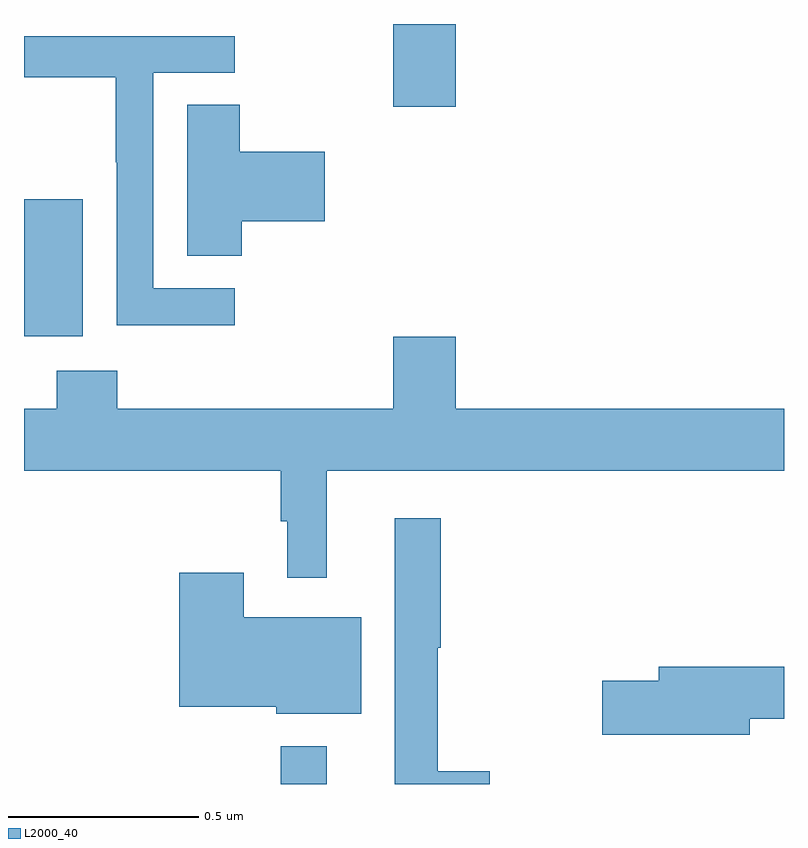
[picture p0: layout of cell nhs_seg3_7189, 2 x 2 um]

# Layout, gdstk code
import gdstk
lib = gdstk.Library(unit=1e-6, precision=1e-09)
def R(c, l, rs):  # rectangles x0, y0, x1, y1
    for r in rs: c.add(gdstk.rectangle(r[:2], r[2:], *l))
def P(c, l, *ps):  # polygons
    for p in ps: c.add(gdstk.Polygon(p, *l))
L2000_40 = (2000, 40)

nhs_seg3_7189 = lib.new_cell('nhs_seg3_7189')
R(nhs_seg3_7189, L2000_40, [(200.676,725.4,200.797,725.5), (200,726.578,200.155,726.939), (200.972,727.182,201.136,727.4)])
P(nhs_seg3_7189, L2000_40, [(200.554,726.705),(200.34,726.705),(200.34,727.272),(200.554,727.272),(200.554,727.368),(200,727.368),(200,727.26),(200.242,727.26),(200.242,727.036),(200.244,727.036),(200.244,726.607),(200.554,726.607)],
  [(200.573,726.881),(200.791,726.881),(200.791,727.064),(200.568,727.064),(200.568,727.187),(200.429,727.187),(200.429,726.79),(200.573,726.79)],
  [(200.797,726.224),(202,726.224),(202,726.388),(201.136,726.388),(201.136,726.577),(200.972,726.577),(200.972,726.388),(200.246,726.388),(200.246,726.487),(200.086,726.487),(200.086,726.388),(200,726.388),(200,726.224),(200.676,726.224),(200.676,726.092),(200.693,726.092),(200.693,725.943),(200.797,725.943)],
  [(201.226,725.434),(201.089,725.434),(201.089,725.759),(201.097,725.759),(201.097,726.1),(200.975,726.1),(200.975,725.4),(201.226,725.4)],
  [(200.887,725.839),(200.578,725.839),(200.578,725.956),(200.408,725.956),(200.408,725.603),(200.664,725.603),(200.664,725.585),(200.887,725.585)],
  [(201.91,725.572),(202,725.572),(202,725.708),(201.671,725.708),(201.671,725.672),(201.522,725.672),(201.522,725.53),(201.91,725.53)])

lib.write_gds('nhs_seg3_7189.gds')
